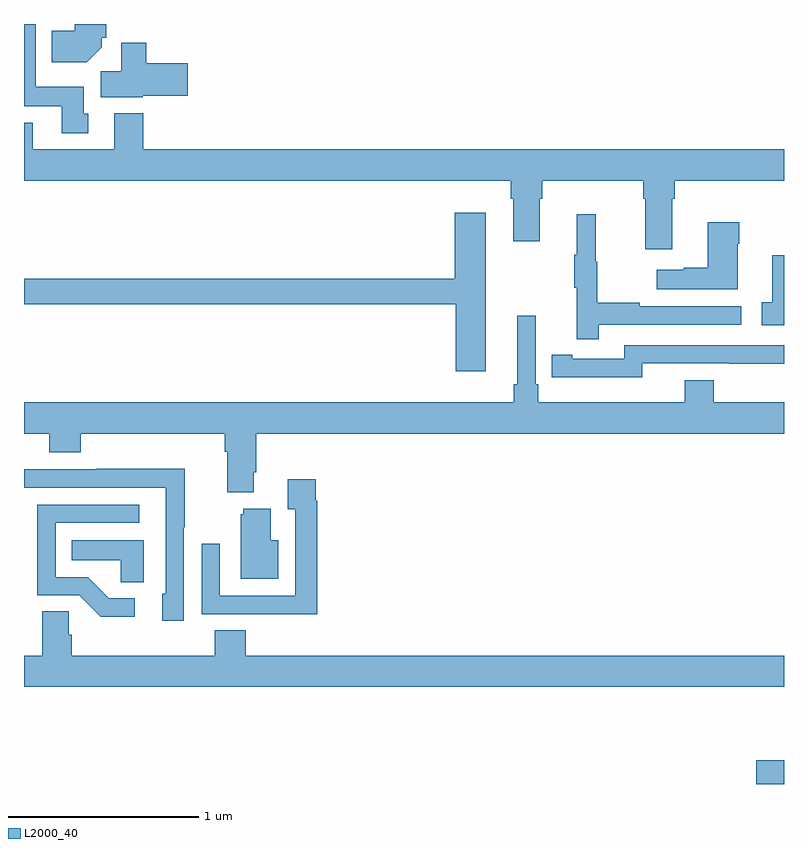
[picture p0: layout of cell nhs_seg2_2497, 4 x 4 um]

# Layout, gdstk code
import gdstk
lib = gdstk.Library(unit=1e-6, precision=1e-09)
def R(c, l, rs):  # rectangles x0, y0, x1, y1
    for r in rs: c.add(gdstk.rectangle(r[:2], r[2:], *l))
def P(c, l, *ps):  # polygons
    for p in ps: c.add(gdstk.Polygon(p, *l))
L2000_40 = (2000, 40)

nhs_seg2_2497 = lib.new_cell('nhs_seg2_2497')
R(nhs_seg2_2497, L2000_40, [(244.853,637.8,245,637.924)])
P(nhs_seg2_2497, L2000_40, [(241.408,641.678),(241.408,641.727),(241.434,641.727),(241.434,641.8),(241.268,641.8),(241.268,641.764),(241.147,641.764),(241.147,641.6),(241.33,641.6)],
  [(241.339,641.328),(241.315,641.328),(241.315,641.47),(241.062,641.47),(241.062,641.8),(241,641.8),(241,641.366),(241.199,641.366),(241.199,641.226),(241.339,641.226)],
  [(241.626,641.423),(241.861,641.423),(241.861,641.594),(241.643,641.594),(241.643,641.701),(241.511,641.701),(241.511,641.552),(241.403,641.552),(241.403,641.414),(241.626,641.414)],
  [(244.411,640.88),(244.424,640.88),(244.424,640.976),(245,640.976),(245,641.14),(241.628,641.14),(241.628,641.329),(241.475,641.329),(241.475,641.14),(241.045,641.14),(241.045,641.281),(241,641.281),(241,640.976),(243.563,640.976),(243.563,640.88),(243.575,640.88),(243.575,640.656),(243.715,640.656),(243.715,640.88),(243.728,640.88),(243.728,640.976),(244.259,640.976),(244.259,640.88),(244.271,640.88),(244.271,640.614),(244.411,640.614)],
  [(243.43,640.807),(243.266,640.807),(243.266,640.46),(241,640.46),(241,640.324),(243.272,640.324),(243.272,639.972),(243.43,639.972)],
  [(244.025,640.218),(244.774,640.218),(244.774,640.314),(244.241,640.314),(244.241,640.334),(244.018,640.334),(244.018,640.548),(244.01,640.548),(244.01,640.798),(243.908,640.798),(243.908,640.585),(243.897,640.585),(243.897,640.411),(243.908,640.411),(243.908,640.14),(244.025,640.14)],
  [(244.756,640.643),(244.764,640.643),(244.764,640.756),(244.598,640.756),(244.598,640.517),(244.472,640.517),(244.472,640.507),(244.329,640.507),(244.329,640.403),(244.756,640.403)],
  [(245,640.582),(244.937,640.582),(244.937,640.335),(244.884,640.335),(244.884,640.215),(245,640.215)],
  [(242.209,639.442),(242.222,639.442),(242.222,639.644),(245,639.644),(245,639.808),(244.631,639.808),(244.631,639.925),(244.478,639.925),(244.478,639.808),(243.707,639.808),(243.707,639.904),(243.693,639.904),(243.693,640.264),(243.596,640.264),(243.596,639.904),(243.577,639.904),(243.577,639.808),(241,639.808),(241,639.644),(241.133,639.644),(241.133,639.545),(241.298,639.545),(241.298,639.644),(242.057,639.644),(242.057,639.548),(242.069,639.548),(242.069,639.335),(242.209,639.335)],
  [(244.254,640.014),(244.714,640.014),(244.714,640.013),(245,640.013),(245,640.11),(244.158,640.11),(244.158,640.038),(243.886,640.038),(243.886,640.058),(243.778,640.058),(243.778,639.942),(243.886,639.942),(243.886,639.941),(244.254,639.941)],
  [(241.842,639.151),(241.845,639.151),(241.845,639.458),(241.381,639.458),(241.381,639.456),(241,639.456),(241,639.36),(241.746,639.36),(241.746,638.802),(241.727,638.802),(241.727,638.658),(241.842,638.658)],
  [(242.543,639.29),(242.536,639.29),(242.536,639.403),(242.387,639.403),(242.387,639.247),(242.427,639.247),(242.427,638.79),(242.031,638.79),(242.031,639.064),(241.935,639.064),(241.935,638.694),(242.251,638.694),(242.251,638.693),(242.543,638.693)],
  [(241.582,638.778),(241.447,638.778),(241.336,638.889),(241.167,638.889),(241.167,639.174),(241.606,639.174),(241.606,639.27),(241.071,639.27),(241.071,638.793),(241.29,638.793),(241.403,638.681),(241.582,638.681)],
  [(242.338,639.082),(242.299,639.082),(242.299,639.25),(242.153,639.25),(242.153,639.219),(242.141,639.219),(242.141,638.879),(242.338,638.879)],
  [(241.63,639.082),(241.252,639.082),(241.252,638.978),(241.509,638.978),(241.509,638.863),(241.63,638.863)],
  [(245,638.476),(242.168,638.476),(242.168,638.609),(242.003,638.609),(242.003,638.476),(241.25,638.476),(241.25,638.585),(241.236,638.585),(241.236,638.708),(241.097,638.708),(241.097,638.476),(241,638.476),(241,638.312),(245,638.312)])

lib.write_gds('nhs_seg2_2497.gds')
